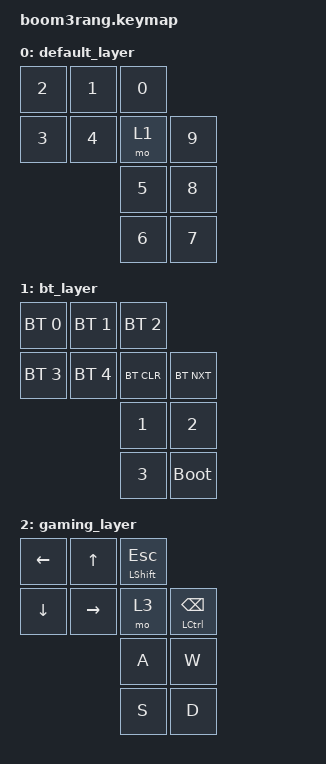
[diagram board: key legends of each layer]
#include <behaviors.dtsi>
#include <dt-bindings/zmk/keys.h>
#include <dt-bindings/zmk/bt.h>

/ {
    keymap {
        compatible = "zmk,keymap";

        default_layer {
            bindings = <
				&kp N2	&kp N1	&kp N0
                &kp N3	&kp N4	&mo 1	&kp N9
								&kp N5	&kp N8
								&kp N6	&kp N7
            >;
        };
		bt_layer {
            bindings = <
                &bt BT_SEL 0  &bt BT_SEL 1  &bt BT_SEL 2
                &bt BT_SEL 3  &bt BT_SEL 4  &bt BT_CLR    &bt BT_NXT
											&kp N1        &kp N2
											&kp N3        &bootloader
            >;
		};

        gaming_layer {
            bindings = <
                &kp LEFT	&kp UP_ARROW	&mt LEFT_SHIFT ESCAPE
                &kp DOWN	&kp RIGHT		&mo 3         			&mt LEFT_CONTROL BACKSPACE
											&kp A     &kp W
											&kp S     &kp D
            >;
        };
    };
};
